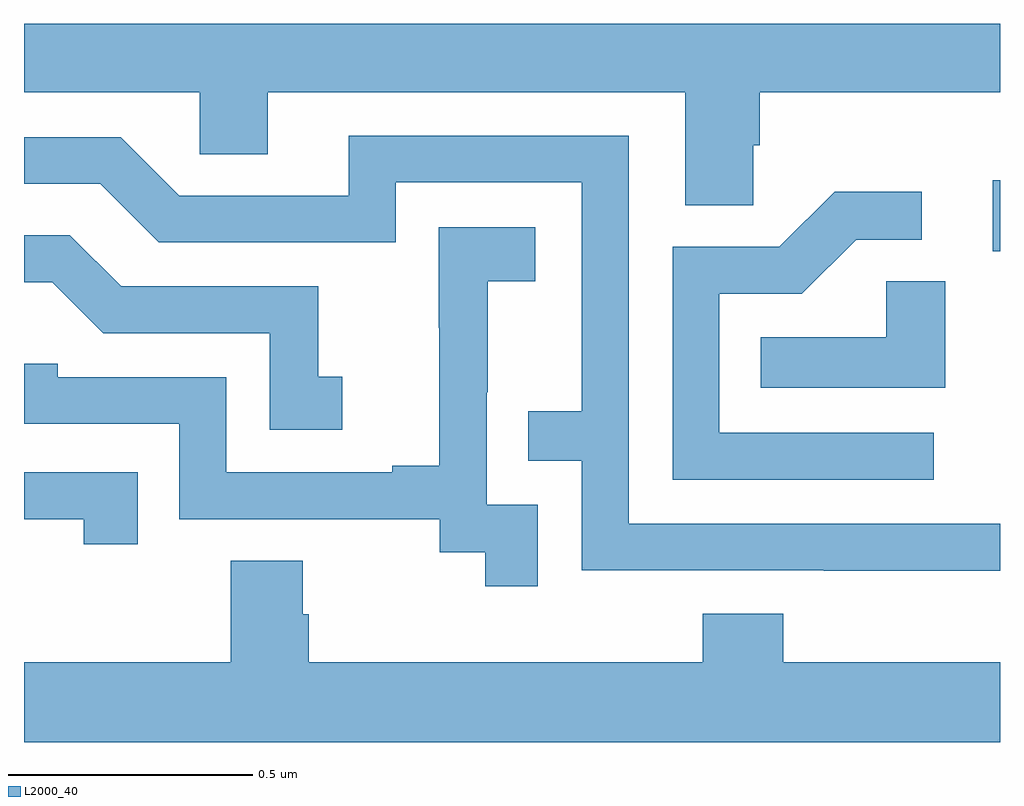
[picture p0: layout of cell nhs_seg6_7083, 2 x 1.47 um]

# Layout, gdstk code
import gdstk
lib = gdstk.Library(unit=1e-6, precision=1e-09)
def R(c, l, rs):  # rectangles x0, y0, x1, y1
    for r in rs: c.add(gdstk.rectangle(r[:2], r[2:], *l))
def P(c, l, *ps):  # polygons
    for p in ps: c.add(gdstk.Polygon(p, *l))
L2000_40 = (2000, 40)

nhs_seg6_7083 = lib.new_cell('nhs_seg6_7083')
R(nhs_seg6_7083, L2000_40, [(205.985,923.034,206,923.179)])
P(nhs_seg6_7083, L2000_40, [(205.494,923.251),(205.508,923.251),(205.508,923.36),(206,923.36),(206,923.5),(204,923.5),(204,923.36),(204.36,923.36),(204.36,923.233),(204.499,923.233),(204.499,923.36),(205.355,923.36),(205.355,923.128),(205.494,923.128)],
  [(206,922.476),(205.239,922.476),(205.239,923.271),(204.665,923.271),(204.665,923.148),(204.318,923.148),(204.198,923.268),(204,923.268),(204,923.172),(204.156,923.172),(204.276,923.052),(204.762,923.052),(204.762,923.175),(205.143,923.175),(205.143,922.706),(205.033,922.706),(205.033,922.605),(205.143,922.605),(205.143,922.38),(205.639,922.38),(205.639,922.379),(206,922.379)],
  [(205.864,922.662),(205.425,922.662),(205.425,922.947),(205.594,922.947),(205.705,923.058),(205.84,923.058),(205.84,923.156),(205.661,923.156),(205.548,923.043),(205.329,923.043),(205.329,922.566),(205.864,922.566)],
  [(205.053,922.515),(204.948,922.515),(204.948,922.745),(204.95,922.745),(204.95,922.973),(205.048,922.973),(205.048,923.083),(204.85,923.083),(204.85,922.877),(204.851,922.877),(204.851,922.594),(204.755,922.594),(204.755,922.581),(204.414,922.581),(204.414,922.776),(204.069,922.776),(204.069,922.803),(204,922.803),(204,922.68),(204.318,922.68),(204.318,922.485),(204.852,922.485),(204.852,922.417),(204.945,922.417),(204.945,922.347),(205.053,922.347)],
  [(204.652,922.777),(204.603,922.777),(204.603,922.962),(204.199,922.962),(204.094,923.067),(204,923.067),(204,922.97),(204.058,922.97),(204.162,922.866),(204.504,922.866),(204.504,922.668),(204.652,922.668)],
  [(205.888,922.973),(205.767,922.973),(205.767,922.858),(205.51,922.858),(205.51,922.754),(205.888,922.754)],
  [(204.233,922.581),(204,922.581),(204,922.485),(204.122,922.485),(204.122,922.434),(204.233,922.434)],
  [(206,922.192),(205.556,922.192),(205.556,922.291),(205.391,922.291),(205.391,922.192),(204.584,922.192),(204.584,922.29),(204.571,922.29),(204.571,922.4),(204.424,922.4),(204.424,922.192),(204,922.192),(204,922.028),(206,922.028)])

lib.write_gds('nhs_seg6_7083.gds')
